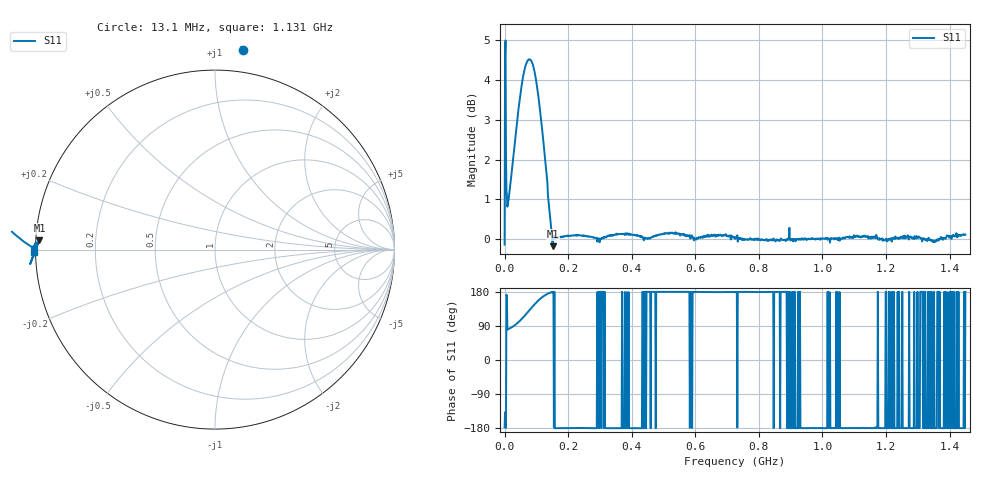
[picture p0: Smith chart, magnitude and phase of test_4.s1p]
! Created with skrf 1.11.0 (http://scikit-rf.org).
# Hz S RI R 50.0
!freq ReS11 ImS11
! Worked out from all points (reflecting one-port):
!   1001 points, 50 kHz to 1.45 GHz, reference 50 ohm
!   lowest |S11| = -0.2 dB at 150.8 MHz (marker M1), VSWR 96.40, Z = 0.519 + j1.32 ohm
!   phase of S11 starts at -177 deg and turns -3 deg over the sweep
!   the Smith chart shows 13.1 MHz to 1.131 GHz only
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50000  -0.9828 -0.0438
8749700  0.1886 1.082
1.019965e7  0.1781 1.091
1.16496e7  0.1674 1.103
1.599945e7  0.136 1.144
2.61491e7  0.0388 1.252
3.48488e7  -0.0822 1.35
4.499845e7  -0.2785 1.444
5.369815e7  -0.4874 1.483
6.38478e7  -0.7568 1.456
7.399745e7  -1.017 1.336
8.559705e7  -1.253 1.104
9.139685e7  -1.332 0.9621
9.719665e7  -1.378 0.8136
1.087962e8  -1.386 0.5306
1.232958e8  -1.286 0.2539
1.363453e8  -1.131 0.0994
1.43595e8  -1.06 0.0407
1.508448e8  -0.9781 0.0517
1.812938e8  -1.006 -0.00556
3.625375e8  -1.015 -0.00129
5.437812e8  -1.017 0.00418
7.25025e8  -0.9999 0.0256
9.062688e8  -0.9998 -0.00317
1.087512e9  -1.005 -0.00808
1.268756e9  -1.011 -0.00574
1.349953e9  -0.9959 -0.00836
1.45e9  -1.013 0.00544
